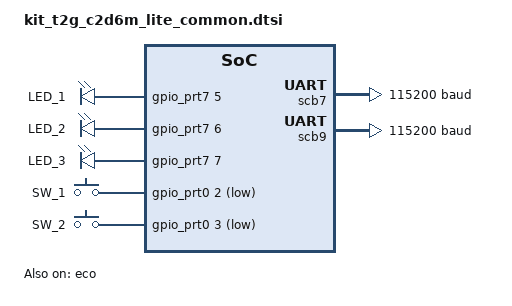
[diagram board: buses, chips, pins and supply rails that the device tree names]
/*
 * Copyright (c) 2026 Linumiz
 * SPDX-License-Identifier: Apache-2.0
 */

#include <arm/infineon/cat1c/traveo/cyt4dn/system_clocks.dtsi>
#include <arm/infineon/cat1c/traveo/cyt4dn/cyt4dn.dtsi>
#include <arm/infineon/cat1c/traveo/cyt4dn/cyt4dn-pinctrl.dtsi>
#include <zephyr/dt-bindings/input/input-event-codes.h>
#include <zephyr/dt-bindings/pinctrl/ifx_cat1-pinctrl.h>

/ {
	aliases {
		led0 = &user_led1;
		led1 = &user_led2;
		led2 = &user_led3;
		sw0 = &user_bt1;
		sw1 = &user_bt2;
	};

	leds {
		compatible = "gpio-leds";
		user_led1: user_led1 {
			label = "LED_1";
			gpios = <&gpio_prt7 5 GPIO_ACTIVE_HIGH>;
		};
		user_led2: user_led2 {
			label = "LED_2";
			gpios = <&gpio_prt7 6 GPIO_ACTIVE_HIGH>;
		};
		user_led3: user_led3 {
			label = "LED_3";
			gpios = <&gpio_prt7 7 GPIO_ACTIVE_HIGH>;
		};
	};

	gpio_keys {
		compatible = "gpio-keys";

		user_bt1: user_btn1 {
			label = "SW_1";
			gpios = <&gpio_prt0 2 (GPIO_PULL_UP | GPIO_ACTIVE_LOW)>;
			zephyr,code = <INPUT_KEY_0>;
		};
		user_bt2: user_btn2 {
			label = "SW_2";
			gpios = <&gpio_prt0 3 (GPIO_PULL_UP | GPIO_ACTIVE_LOW)>;
			zephyr,code = <INPUT_KEY_1>;
		};
	};
};

uart7: &scb7 {
	compatible = "infineon,uart";
	current-speed = <115200>;
	dmas = <&dma1 30>, <&dma1 31>;
	dma-names = "tx", "rx";
	clocks = <&clk_peri1 15 0 1>;

	/* UART pins */
	pinctrl-0 = <&p9_0_scb7_uart_rx &p9_1_scb7_uart_tx>;
	pinctrl-names = "default";
};

uart9: &scb9 {
	compatible = "infineon,uart";
	current-speed = <115200>;
	dmas = <&dma1 34>, <&dma1 35>;
	dma-names = "tx", "rx";
	clocks = <&clk_peri1 17 0 0>;

	/* UART pins */
	pinctrl-0 = <&p29_0_scb9_uart_rx &p29_1_scb9_uart_tx>;
	pinctrl-names = "default";
};

&dma1 {
	status = "okay";
};

&clk_peri1 {
	status = "okay";
};

&gpio_prt0 {
	status = "okay";
};

&gpio_prt1 {
	status = "okay";
};

&gpio_prt2 {
	status = "okay";
};

&gpio_prt3 {
	status = "okay";
};

&gpio_prt5 {
	status = "okay";
};

&gpio_prt6 {
	status = "okay";
};

&gpio_prt7 {
	status = "okay";
};

&gpio_prt8 {
	status = "okay";
};

&gpio_prt29 {
	status = "okay";
};

&pll0 {
	status = "okay";
};

&pll1 {
	status = "okay";
};

&pll2 {
	status = "okay";
};

&pll3 {
	status = "okay";
};

&pll4 {
	status = "okay";
};

&pll5 {
	status = "okay";
};

&pll6 {
	status = "okay";
};

&clk_hf0 {
	status = "okay";
};

&clk_hf1 {
	status = "okay";
};

&clk_hf2 {
	status = "okay";
};

&clk_hf3 {
	status = "okay";
};

&clk_hf4 {
	status = "okay";
};

&clk_hf5 {
	status = "okay";
};

&clk_hf6 {
	status = "okay";
};

&clk_hf7 {
	status = "okay";
};

&clk_hf8 {
	status = "okay";
};

&clk_hf9 {
	status = "okay";
};

&clk_hf10 {
	status = "okay";
};

&clk_hf11 {
	status = "okay";
};

&clk_hf12 {
	status = "okay";
};

&clk_hf13 {
	status = "disabled";
};

&eco {
	status = "okay";
};
